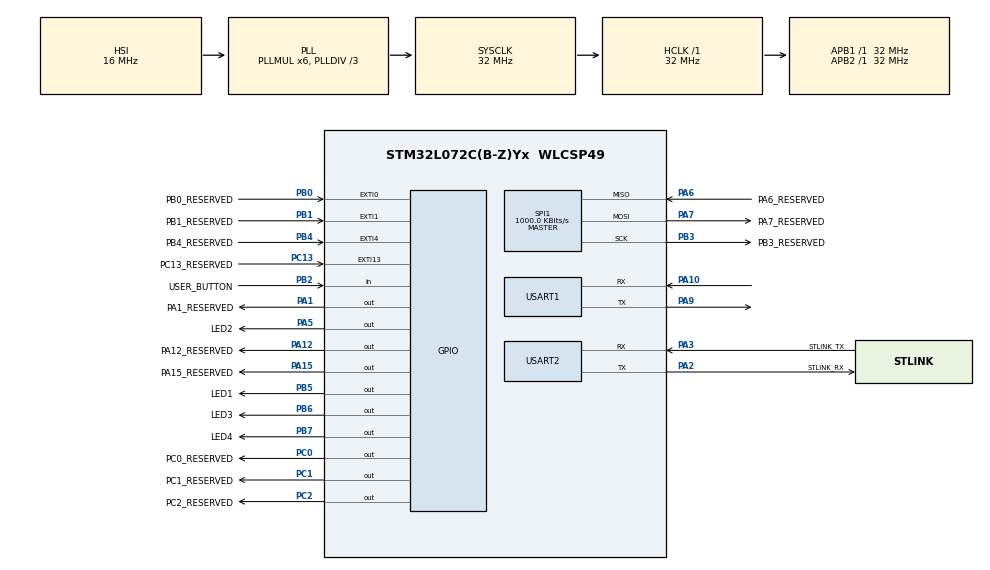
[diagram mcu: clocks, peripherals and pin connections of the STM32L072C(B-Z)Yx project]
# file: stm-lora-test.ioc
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Mcu.Family=STM32L0
Mcu.Name=STM32L072C(B-Z)Yx
Mcu.Package=WLCSP49
NVIC.EXTI0_1_IRQn=true\:0\:0\:false\:false\:true\:true\:true\:true
NVIC.EXTI4_15_IRQn=true\:0\:0\:false\:false\:true\:true\:true\:true
NVIC.RTC_IRQn=true\:0\:0\:false\:false\:true\:true\:true\:true
NVIC.TIM7_IRQn=true\:0\:0\:false\:false\:true\:true\:true\:true
NVIC.USART2_IRQn=true\:0\:0\:false\:false\:true\:true\:true\:true
PA1.GPIO_Label=PA1_RESERVED
PA1.GPIO_Speed=GPIO_SPEED_FREQ_HIGH
PA1.PinState=GPIO_PIN_RESET
PA1.Signal=GPIO_Output
PA10.Mode=Asynchronous
PA10.Signal=USART1_RX
PA12.GPIO_Label=PA12_RESERVED
PA12.GPIO_Speed=GPIO_SPEED_FREQ_HIGH
PA12.Signal=GPIO_Output
PA15.GPIO_Label=PA15_RESERVED
PA15.GPIO_Speed=GPIO_SPEED_FREQ_HIGH
PA15.Signal=GPIO_Output
PA2.GPIO_Label=STLINK_RX
PA2.Mode=Asynchronous
PA2.Signal=USART2_TX
PA3.GPIO_Label=STLINK_TX
PA3.Mode=Asynchronous
PA3.Signal=USART2_RX
PA5.GPIO_Label=LED2
PA5.Signal=GPIO_Output
PA6.GPIO_Label=PA6_RESERVED
PA6.Mode=Full_Duplex_Master
PA6.Signal=SPI1_MISO
PA7.GPIO_Label=PA7_RESERVED
PA7.Mode=Full_Duplex_Master
PA7.Signal=SPI1_MOSI
PA9.Mode=Asynchronous
PA9.Signal=USART1_TX
PB0.GPIO_Label=PB0_RESERVED
PB0.Signal=GPXTI0
PB1.GPIO_Label=PB1_RESERVED
PB1.Signal=GPXTI1
PB2.GPIO_Label=USER_BUTTON
PB2.Signal=GPIO_Input
PB3.GPIO_Label=PB3_RESERVED
PB3.Mode=Full_Duplex_Master
PB3.Signal=SPI1_SCK
PB4.GPIO_Label=PB4_RESERVED
PB4.Signal=GPXTI4
PB5.GPIO_Label=LED1
PB5.Signal=GPIO_Output
PB6.GPIO_Label=LED3
PB6.Signal=GPIO_Output
PB7.GPIO_Label=LED4
PB7.Signal=GPIO_Output
PC0.GPIO_Label=PC0_RESERVED
PC0.GPIO_Speed=GPIO_SPEED_FREQ_HIGH
PC0.Signal=GPIO_Output
PC1.GPIO_Label=PC1_RESERVED
PC1.GPIO_Speed=GPIO_SPEED_FREQ_HIGH
PC1.Signal=GPIO_Output
PC13.GPIO_Label=PC13_RESERVED
PC13.Signal=GPXTI13
PC2.GPIO_Label=PC2_RESERVED
PC2.GPIO_Speed=GPIO_SPEED_FREQ_HIGH
PC2.Signal=GPIO_Output
PH0-OSC_IN.Mode=HSE-External-Oscillator
PH0-OSC_IN.Signal=RCC_OSC_IN
PH1-OSC_OUT.Mode=HSE-External-Oscillator
PH1-OSC_OUT.Signal=RCC_OSC_OUT
ProjectManager.HeapSize=0x200
ProjectManager.StackSize=0x400
ProjectManager.TargetToolchain=Makefile
RCC.AHBFreq_Value=32000000
RCC.APB1Freq_Value=32000000
RCC.APB1TimFreq_Value=32000000
RCC.APB2Freq_Value=32000000
RCC.APB2TimFreq_Value=32000000
RCC.HCLKFreq_Value=32000000
RCC.HSE_VALUE=8000000
RCC.HSI16_VALUE=16000000
RCC.HSI48_VALUE=48000000
RCC.HSI_VALUE=16000000
RCC.LSE_VALUE=32768
RCC.MSI_VALUE=2097000
RCC.PLLDIV=RCC_PLLDIV_3
RCC.PLLMUL=RCC_PLLMUL_6
RCC.SYSCLKFreq_VALUE=32000000
RCC.SYSCLKSource=RCC_SYSCLKSOURCE_PLLCLK
RCC.VCOOutputFreq_Value=96000000
RTC.Alarm-Alarm\ A=RTC_ALARM_A
RTC.AlarmSubSecondMask-Alarm\ A=RTC_ALARMSUBSECONDMASK_NONE
RTC.AsynchPrediv=31
RTC.Format=RTC_FORMAT_BIN
RTC.SynchPrediv=1023
SPI1.BaudRatePrescaler=SPI_BAUDRATEPRESCALER_32
SPI1.CalculateBaudRate=1000.0 KBits/s
SPI1.Direction=SPI_DIRECTION_2LINES
SPI1.Mode=SPI_MODE_MASTER
SPI1.VirtualType=VM_MASTER
TIM7.AutoReloadPreload=TIM_AUTORELOAD_PRELOAD_DISABLE
TIM7.Period=31999
USART1.VirtualMode-Asynchronous=VM_ASYNC
USART2.VirtualMode-Asynchronous=VM_ASYNC
VP_RTC_VS_RTC_Activate.Mode=RTC_Enabled
VP_RTC_VS_RTC_Alarm_A_Intern.Mode=Alarm A
VP_RTC_VS_RTC_Calendar.Mode=RTC_Calendar
VP_TIM7_VS_ClockSourceINT.Mode=Enable_Timer
board=B-L072Z-LRWAN1

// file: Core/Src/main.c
/* USER CODE BEGIN Header */
/**
  ******************************************************************************
  * @file           : main.c
  * @brief          : Main program body
  ******************************************************************************
  * @attention
  *
  * Copyright (c) 2024 STMicroelectronics.
  * All rights reserved.
  *
  * This software is licensed under terms that can be found in the LICENSE file
  * in the root directory of this software component.
  * If no LICENSE file comes with this software, it is provided AS-IS.
  *
  ******************************************************************************
  */
/* USER CODE END Header */
#include "main.h"
#include "rtc.h"
#include "spi.h"
#include "tim.h"
#include "usart.h"
#include "gpio.h"

/* USER CODE BEGIN Includes */

#include "vv.h"

/* USER CODE END Includes */

/* USER CODE BEGIN PV */

uint32_t ms_elapsed = 0;

/// @brief UART transmit buffer
char tx_buff[] = {'1','2','3','4','5','6','\n'};

/// @brief UART receive buffer
uint8_t rx_buff[10];

/* USER CODE END PV */

void SystemClock_Config(void);

/* USER CODE BEGIN 0 */

// void TIM7_IRQHandler(void)
// {
//   HAL_TIM_IRQHandler(&htim7);

//   // increase ms counter
//   ms_elapsed++;
// }

void HAL_TIM_PeriodElapsedCallback(TIM_HandleTypeDef *htim){
  if(htim->Instance == TIM7){
    ms_elapsed++;
  }
}

/* USER CODE END 0 */

int main(void)
{

  /* MCU Configuration--------------------------------------------------------*/

  /* Reset of all peripherals, Initializes the Flash interface and the Systick. */
  HAL_Init();

  /* Configure the system clock */
  SystemClock_Config();

  /* Initialize all configured peripherals */
  MX_GPIO_Init();
  MX_RTC_Init();
  MX_SPI1_Init();
  MX_USART2_UART_Init();
  MX_TIM7_Init();
  MX_USART1_UART_Init();
  /* USER CODE BEGIN 2 */

  // Start Timer
  HAL_TIM_Base_Start_IT(&htim7);

  /* USER CODE END 2 */

  /* Infinite loop */
  while (1)
  {

    /* USER CODE BEGIN 3 */
    if(ms_elapsed % 1000 == 0){
      if(HAL_UART_Receive(&huart1, rx_buff, 10, 1000) == HAL_OK) //if transfer is successful
      {
        __NOP(); //You need to toggle a breakpoint on this line!

        HAL_UART_Transmit(&huart1, rx_buff, 10, 1000);

        HAL_GPIO_WritePin(LED4_GPIO_Port, LED4_Pin, GPIO_PIN_RESET);
        HAL_GPIO_WritePin(LED1_GPIO_Port, LED1_Pin, GPIO_PIN_SET);
      } else {
        __NOP();

        HAL_GPIO_WritePin(LED4_GPIO_Port, LED4_Pin, GPIO_PIN_SET);
        HAL_GPIO_WritePin(LED1_GPIO_Port, LED1_Pin, GPIO_PIN_RESET);
      }
      //HAL_GPIO_TogglePin(LED2_GPIO_Port, LED2_Pin);
      HAL_GPIO_TogglePin(LED3_GPIO_Port, LED3_Pin);
    }else if(ms_elapsed % 100 == 0)
    {
      HAL_GPIO_TogglePin(LED2_GPIO_Port, LED2_Pin);
    }

  }
  /* USER CODE END 3 */
}

void SystemClock_Config(void)
{
  RCC_OscInitTypeDef RCC_OscInitStruct = {0};
  RCC_ClkInitTypeDef RCC_ClkInitStruct = {0};
  RCC_PeriphCLKInitTypeDef PeriphClkInit = {0};

  /** Configure the main internal regulator output voltage
  */
  __HAL_PWR_VOLTAGESCALING_CONFIG(PWR_REGULATOR_VOLTAGE_SCALE1);

  /** Initializes the RCC Oscillators according to the specified parameters
  * in the RCC_OscInitTypeDef structure.
  */
  RCC_OscInitStruct.OscillatorType = RCC_OSCILLATORTYPE_HSI|RCC_OSCILLATORTYPE_LSI;
  RCC_OscInitStruct.HSIState = RCC_HSI_ON;
  RCC_OscInitStruct.HSICalibrationValue = RCC_HSICALIBRATION_DEFAULT;
  RCC_OscInitStruct.LSIState = RCC_LSI_ON;
  RCC_OscInitStruct.PLL.PLLState = RCC_PLL_ON;
  RCC_OscInitStruct.PLL.PLLSource = RCC_PLLSOURCE_HSI;
  RCC_OscInitStruct.PLL.PLLMUL = RCC_PLLMUL_6;
  RCC_OscInitStruct.PLL.PLLDIV = RCC_PLLDIV_3;
  if (HAL_RCC_OscConfig(&RCC_OscInitStruct) != HAL_OK)
  {
    Error_Handler();
  }

  /** Initializes the CPU, AHB and APB buses clocks
  */
  RCC_ClkInitStruct.ClockType = RCC_CLOCKTYPE_HCLK|RCC_CLOCKTYPE_SYSCLK
                              |RCC_CLOCKTYPE_PCLK1|RCC_CLOCKTYPE_PCLK2;
  RCC_ClkInitStruct.SYSCLKSource = RCC_SYSCLKSOURCE_PLLCLK;
  RCC_ClkInitStruct.AHBCLKDivider = RCC_SYSCLK_DIV1;
  RCC_ClkInitStruct.APB1CLKDivider = RCC_HCLK_DIV1;
  RCC_ClkInitStruct.APB2CLKDivider = RCC_HCLK_DIV1;

  if (HAL_RCC_ClockConfig(&RCC_ClkInitStruct, FLASH_LATENCY_1) != HAL_OK)
  {
    Error_Handler();
  }
  PeriphClkInit.PeriphClockSelection = RCC_PERIPHCLK_USART1|RCC_PERIPHCLK_USART2
                              |RCC_PERIPHCLK_RTC;
  PeriphClkInit.Usart1ClockSelection = RCC_USART1CLKSOURCE_PCLK2;
  PeriphClkInit.Usart2ClockSelection = RCC_USART2CLKSOURCE_PCLK1;
  PeriphClkInit.RTCClockSelection = RCC_RTCCLKSOURCE_LSI;
  if (HAL_RCCEx_PeriphCLKConfig(&PeriphClkInit) != HAL_OK)
  {
    Error_Handler();
  }
}

void Error_Handler(void)
{
  __disable_irq();
  while (1)
  {
  }
}
